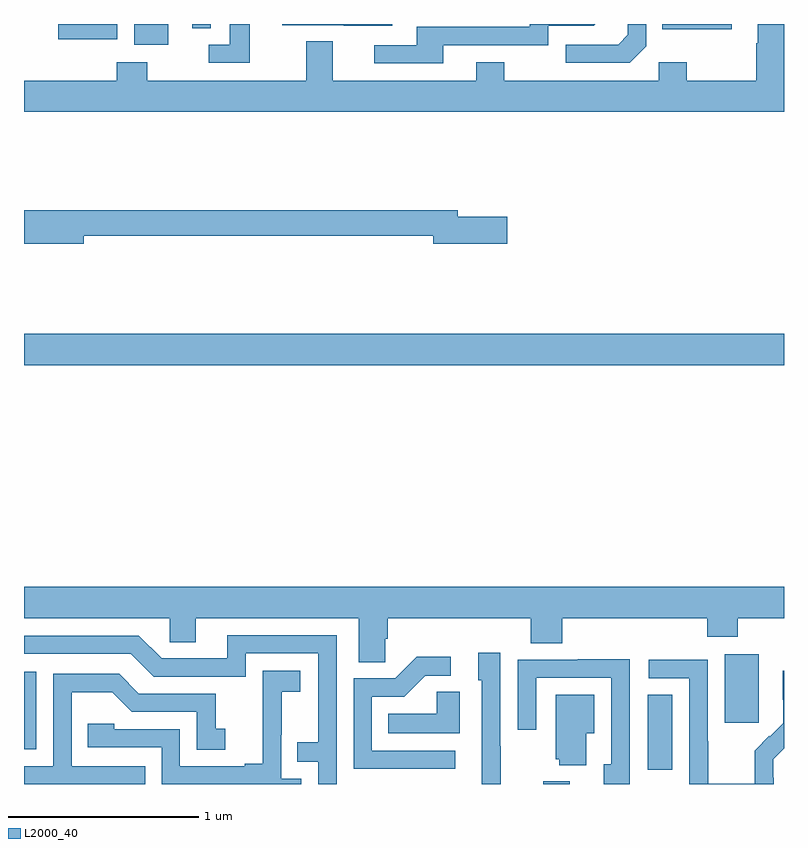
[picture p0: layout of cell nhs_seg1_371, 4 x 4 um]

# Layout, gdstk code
import gdstk
lib = gdstk.Library(unit=1e-6, precision=1e-09)
def R(c, l, rs):  # rectangles x0, y0, x1, y1
    for r in rs: c.add(gdstk.rectangle(r[:2], r[2:], *l))
def P(c, l, *ps):  # polygons
    for p in ps: c.add(gdstk.Polygon(p, *l))
L2000_40 = (2000, 40)

nhs_seg1_371 = lib.new_cell('nhs_seg1_371')
R(nhs_seg1_371, L2000_40, [(133.733,544.199,133.873,544.213), (134.282,544.273,134.413,544.67), (131,544.383,131.064,544.789), (134.687,544.521,134.866,544.882), (131,546.404,135,546.568), (131.579,548.09,131.758,548.199), (131.181,548.119,131.49,548.199), (134.359,548.171,134.724,548.199), (131.886,548.176,131.982,548.199)])
P(nhs_seg1_371, L2000_40, [(135,548.199),(134.861,548.199),(134.861,548.099),(134.854,548.099),(134.854,547.9),(134.487,547.9),(134.487,547.999),(134.34,547.999),(134.34,547.9),(133.527,547.9),(133.527,547.999),(133.379,547.999),(133.379,547.9),(132.625,547.9),(132.625,548.108),(132.485,548.108),(132.485,547.9),(131.649,547.9),(131.649,547.999),(131.489,547.999),(131.489,547.9),(131,547.9),(131,547.736),(135,547.736)],
  [(132.937,548.199),(132.359,548.199),(132.359,548.193),(132.683,548.193),(132.683,548.189),(132.937,548.189)],
  [(132.187,548.199),(132.083,548.199),(132.083,548.091),(131.973,548.091),(131.973,547.995),(132.187,547.995)],
  [(134.274,548.082),(134.274,548.199),(134.178,548.199),(134.178,548.142),(134.127,548.091),(133.851,548.091),(133.851,547.995),(134.187,547.995)],
  [(133.207,548.088),(133.758,548.088),(133.758,548.19),(133.998,548.19),(134.007,548.199),(133.662,548.199),(133.662,548.184),(133.067,548.184),(133.067,548.088),(132.843,548.088),(132.843,547.992),(133.207,547.992)],
  [(131.314,547.084),(133.154,547.084),(133.154,547.042),(133.543,547.042),(133.543,547.184),(133.282,547.184),(133.282,547.22),(131,547.22),(131,547.042),(131.314,547.042)],
  [(132.9,544.963),(132.914,544.963),(132.914,545.072),(133.667,545.072),(133.667,544.939),(133.832,544.939),(133.832,545.072),(134.597,545.072),(134.597,544.973),(134.757,544.973),(134.757,545.072),(135,545.072),(135,545.236),(131,545.236),(131,545.072),(131.766,545.072),(131.766,544.945),(131.905,544.945),(131.905,545.072),(132.761,545.072),(132.761,544.84),(132.9,544.84)],
  [(132.645,544.983),(132.071,544.983),(132.071,544.86),(131.724,544.86),(131.604,544.98),(131,544.98),(131,544.884),(131.562,544.884),(131.682,544.764),(132.168,544.764),(132.168,544.887),(132.549,544.887),(132.549,544.418),(132.439,544.418),(132.439,544.317),(132.549,544.317),(132.549,544.199),(132.645,544.199)],
  [(133.509,544.397),(133.506,544.397),(133.506,544.891),(133.391,544.891),(133.391,544.746),(133.41,544.746),(133.41,544.199),(133.509,544.199)],
  [(133.27,544.374),(132.831,544.374),(132.831,544.659),(133,544.659),(133.111,544.77),(133.246,544.77),(133.246,544.868),(133.067,544.868),(132.954,544.755),(132.735,544.755),(132.735,544.278),(133.27,544.278)],
  [(134.187,544.856),(133.915,544.856),(133.915,544.854),(133.599,544.854),(133.599,544.485),(133.695,544.485),(133.695,544.758),(134.091,544.758),(134.091,544.302),(134.051,544.302),(134.051,544.199),(134.187,544.199)],
  [(134.946,544.233),(134.944,544.233),(134.944,544.33),(135,544.386),(135,544.796),(134.994,544.796),(134.994,544.642),(134.996,544.642),(134.996,544.52),(134.925,544.449),(134.922,544.452),(134.845,544.375),(134.845,544.201),(134.601,544.201),(134.601,544.424),(134.598,544.424),(134.598,544.854),(134.289,544.854),(134.289,544.755),(134.502,544.755),(134.502,544.199),(134.946,544.199)],
  [(132.459,544.227),(132.354,544.227),(132.354,544.457),(132.356,544.457),(132.356,544.685),(132.454,544.685),(132.454,544.795),(132.256,544.795),(132.256,544.589),(132.257,544.589),(132.257,544.306),(132.161,544.306),(132.161,544.293),(131.82,544.293),(131.82,544.488),(131.475,544.488),(131.475,544.515),(131.335,544.515),(131.335,544.392),(131.724,544.392),(131.724,544.199),(132.459,544.199)],
  [(131.639,544.293),(131.25,544.293),(131.25,544.682),(131.464,544.682),(131.568,544.578),(131.91,544.578),(131.91,544.38),(132.058,544.38),(132.058,544.489),(132.009,544.489),(132.009,544.674),(131.605,544.674),(131.5,544.779),(131.154,544.779),(131.154,544.293),(131,544.293),(131,544.199),(131.639,544.199)],
  [(133.294,544.685),(133.173,544.685),(133.173,544.57),(132.916,544.57),(132.916,544.466),(133.294,544.466)],
  [(133.96,544.466),(134.002,544.466),(134.002,544.669),(133.799,544.669),(133.799,544.329),(133.817,544.329),(133.817,544.298),(133.96,544.298)])

lib.write_gds('nhs_seg1_371.gds')
